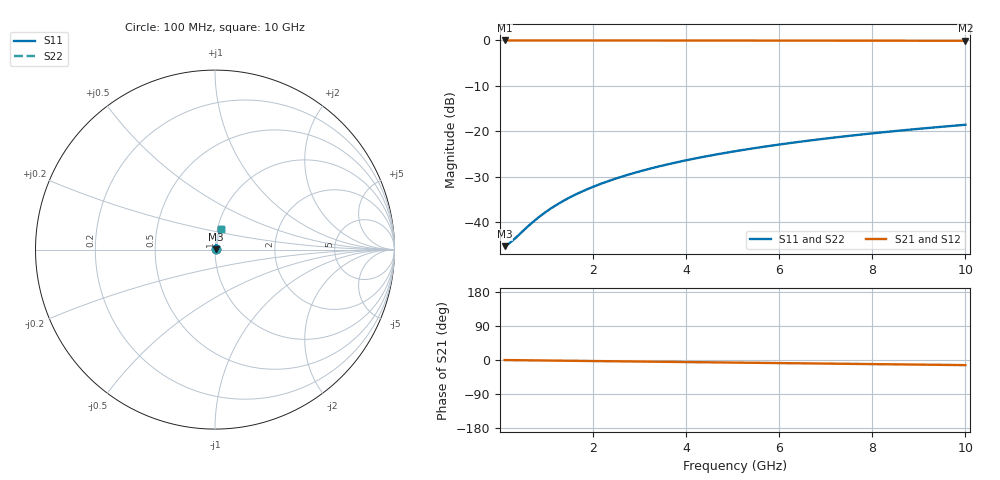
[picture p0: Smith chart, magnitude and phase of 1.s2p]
# Hz S RI R 50.00
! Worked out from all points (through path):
!   100 points, 100 MHz to 10 GHz, reference 50 ohm
!   highest |S21| = -0.05 dB at 100 MHz (marker M1); lowest = -0.1 dB at 10 GHz (marker M2)
!   group delay of S21, straight-line fit = 3.75 ps
!   lowest |S11| = -45.3 dB at 100 MHz (marker M3), VSWR 1.01, Z = 50.5 + j0.119 ohm
!   |S11| at or under -10 dB: start of sweep to end of sweep
!   |S22| runs from -45.3 to -18.6 dB; largest |S21 - S12| = 0
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1e8  0.00531 0.00118  0.9947 -0.00235  0.9947 -0.00235  0.00531 0.00118
2e8  0.00535 0.00236  0.9946 -0.0047  0.9946 -0.0047  0.00535 0.00236
3e8  0.00539 0.00353  0.9946 -0.00705  0.9946 -0.00705  0.00539 0.00353
7e8  0.00557 0.00824  0.9944 -0.0164  0.9944 -0.0164  0.00557 0.00824
8e8  0.00562 0.00942  0.9943 -0.0188  0.9943 -0.0188  0.00562 0.00942
1e9  0.00575 0.0118  0.9942 -0.0235  0.9942 -0.0235  0.00575 0.0118
1.2e9  0.00589 0.0141  0.994 -0.0282  0.994 -0.0282  0.00589 0.0141
1.4e9  0.00605 0.0165  0.9938 -0.0329  0.9938 -0.0329  0.00605 0.0165
1.6e9  0.00623 0.0188  0.9936 -0.0376  0.9936 -0.0376  0.00623 0.0188
1.8e9  0.00644 0.0212  0.9933 -0.0423  0.9933 -0.0423  0.00644 0.0212
2.1e9  0.00678 0.0247  0.9929 -0.0493  0.9929 -0.0493  0.00678 0.0247
2.5e9  0.00732 0.0293  0.9922 -0.0587  0.9922 -0.0587  0.00732 0.0293
2.9e9  0.00794 0.034  0.9914 -0.068  0.9914 -0.068  0.00794 0.034
3.4e9  0.00884 0.0398  0.9903 -0.0797  0.9903 -0.0797  0.00884 0.0398
3.8e9  0.00966 0.0444  0.9893 -0.089  0.9893 -0.089  0.00966 0.0444
4.2e9  0.0106 0.0491  0.9882 -0.0983  0.9882 -0.0983  0.0106 0.0491
5.1e9  0.0129 0.0594  0.9852 -0.1192  0.9852 -0.1192  0.0129 0.0594
5.9e9  0.0154 0.0684  0.9822 -0.1377  0.9822 -0.1377  0.0154 0.0684
6.7e9  0.0181 0.0774  0.9787 -0.1561  0.9787 -0.1561  0.0181 0.0774
7.5e9  0.0213 0.0862  0.9748 -0.1743  0.9748 -0.1743  0.0213 0.0862
8.4e9  0.0252 0.096  0.9699 -0.1947  0.9699 -0.1947  0.0252 0.096
1e10  0.0331 0.1129  0.9598 -0.2305  0.9598 -0.2305  0.0331 0.1129
